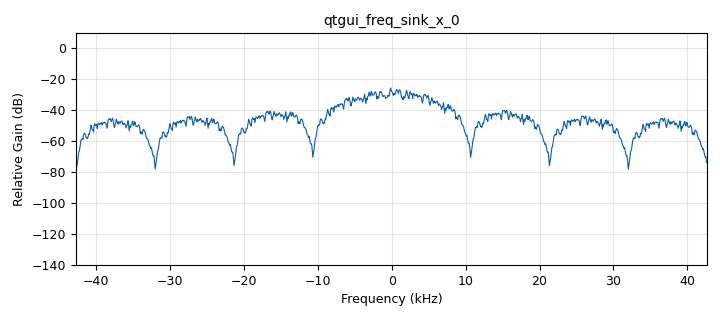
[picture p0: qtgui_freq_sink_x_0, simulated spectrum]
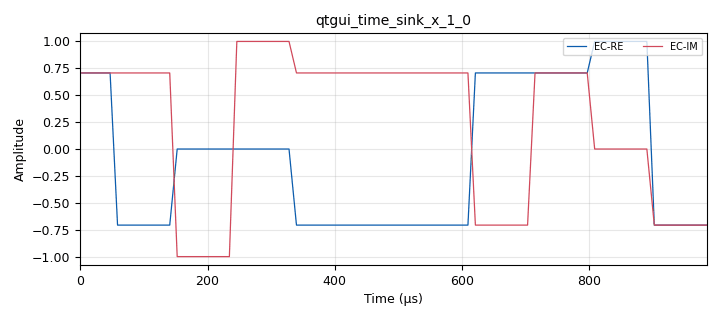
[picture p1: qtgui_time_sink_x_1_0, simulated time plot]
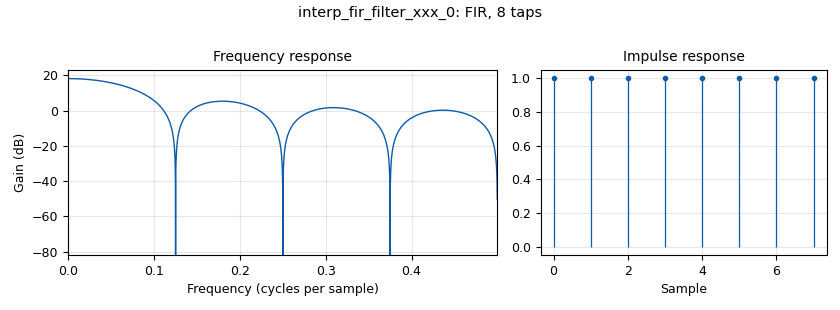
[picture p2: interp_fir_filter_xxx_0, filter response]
options:
  parameters:
    generate_options: qt_gui
    id: MPSK
    output_language: python
    title: Not titled yet
  states: {}

blocks:
- name: M
  id: variable
  parameters:
    value: '8'
  states: {}
- name: Nbps
  id: variable
  parameters:
    value: int(math.log(M,2))
  states: {}
- name: Rb
  id: variable
  parameters:
    value: int(32000)
  states: {}
- name: Rs
  id: variable
  parameters:
    value: Rb/Nbps
  states: {}
- name: Sps
  id: variable
  parameters:
    value: len(h)
  states: {}
- name: h
  id: variable
  parameters:
    value: (1,1,1,1,1,1,1,1)
  states: {}
- name: samp_rate
  id: variable
  parameters:
    value: Rs*Sps
  states: {}
- name: analog_const_source_x_0
  id: analog_const_source_x
  parameters:
    const: '1.'
    type: float
  states: {}
- name: analog_random_source_x_0
  id: analog_random_source_x
  parameters:
    max: '2'
    min: '0'
    num_samps: '1000'
    repeat: 'True'
    type: byte
  states: {}
- name: blocks_char_to_float_0
  id: blocks_char_to_float
  parameters:
    scale: '1'
  states: {state: disabled}
- name: blocks_char_to_float_0_0
  id: blocks_char_to_float
  parameters:
    scale: '1'
  states: {state: disabled}
- name: blocks_char_to_float_1
  id: blocks_char_to_float
  parameters:
    scale: '1'
  states: {}
- name: blocks_multiply_const_vxx_0
  id: blocks_multiply_const_vxx
  parameters:
    const: 2*math.pi/M
    type: float
  states: {}
- name: blocks_repack_bits_bb_0
  id: blocks_repack_bits_bb
  parameters:
    endianness: gr.GR_LSB_FIRST
    k: '1'
    l: Nbps
  states: {}
- name: epy_block_0
  id: epy_block
  parameters:
    _source_code: |
      import numpy as np
      from gnuradio import gr

      class blk(gr.sync_block):

          def __init__(self, example_param=1.0):  
              gr.sync_block.__init__(
                  self,
                  name="VCO complex", 
                  in_sig=[np.float32, np.float32],
                  out_sig=[np.complex64]
              )
              self.example_param = example_param

          def work(self, input_items, output_items):
              Q = input_items[0]
              A = input_items[1]
              Sec = output_items[0]
              Sec[:] = A * np.exp(1j * Q)
              return len(Sec)
    example_param: '1.0'
  states: {}
- name: import_0
  id: import
  parameters:
    imports: import math
  states: {}
- name: interp_fir_filter_xxx_0
  id: interp_fir_filter_xxx
  parameters:
    interp: Sps
    taps: h
    type: ccc
  states: {}
- name: qtgui_const_sink_x_0
  id: qtgui_const_sink_x
  parameters:
    size: '1024'
    type: complex
  states: {state: disabled}
- name: qtgui_freq_sink_x_0
  id: qtgui_freq_sink_x
  parameters:
    average: '0.05'
    bw: samp_rate
    fc: '0'
    fftsize: '1024'
    type: complex
  states: {}
- name: qtgui_time_sink_x_0
  id: qtgui_time_sink_x
  parameters:
    label1: Binary source
    marker1: '0'
    size: '32'
    srate: Rb
    stemplot: 'True'
    type: float
    width1: '2'
  states: {state: disabled}
- name: qtgui_time_sink_x_0_0
  id: qtgui_time_sink_x
  parameters:
    label1: M-PAM
    marker1: '0'
    size: 32//Nbps
    srate: Rs
    stemplot: 'True'
    type: float
    width1: '2'
  states: {state: disabled}
- name: qtgui_time_sink_x_0_0_0
  id: qtgui_time_sink_x
  parameters:
    label1: M-PAM MOD
    marker1: '0'
    size: 32//Nbps
    srate: Rs
    stemplot: 'True'
    type: float
    width1: '2'
  states: {state: disabled}
- name: qtgui_time_sink_x_1
  id: qtgui_time_sink_x
  parameters:
    label1: EC-RE
    label2: EC-IM
    marker1: '0'
    marker2: '0'
    size: 32//Nbps
    srate: Rs
    stemplot: 'True'
    type: complex
    width1: '2'
    width2: '2'
  states: {state: disabled}
- name: qtgui_time_sink_x_1_0
  id: qtgui_time_sink_x
  parameters:
    label1: EC-RE
    label2: EC-IM
    size: 32*Sps//Nbps
    srate: samp_rate
    type: complex
    width1: '2'
    width2: '2'
  states: {}

connections:
- [analog_const_source_x_0, '0', epy_block_0, '1']
- [analog_random_source_x_0, '0', blocks_char_to_float_0, '0']
- [analog_random_source_x_0, '0', blocks_repack_bits_bb_0, '0']
- [blocks_char_to_float_0, '0', qtgui_time_sink_x_0, '0']
- [blocks_char_to_float_0_0, '0', qtgui_time_sink_x_0_0, '0']
- [blocks_char_to_float_1, '0', blocks_multiply_const_vxx_0, '0']
- [blocks_multiply_const_vxx_0, '0', epy_block_0, '0']
- [blocks_multiply_const_vxx_0, '0', qtgui_time_sink_x_0_0_0, '0']
- [blocks_repack_bits_bb_0, '0', blocks_char_to_float_0_0, '0']
- [blocks_repack_bits_bb_0, '0', blocks_char_to_float_1, '0']
- [epy_block_0, '0', interp_fir_filter_xxx_0, '0']
- [epy_block_0, '0', qtgui_const_sink_x_0, '0']
- [epy_block_0, '0', qtgui_time_sink_x_1, '0']
- [interp_fir_filter_xxx_0, '0', qtgui_freq_sink_x_0, '0']
- [interp_fir_filter_xxx_0, '0', qtgui_time_sink_x_1_0, '0']

metadata:
  file_format: 1
  grc_version: 3.10.12.0
